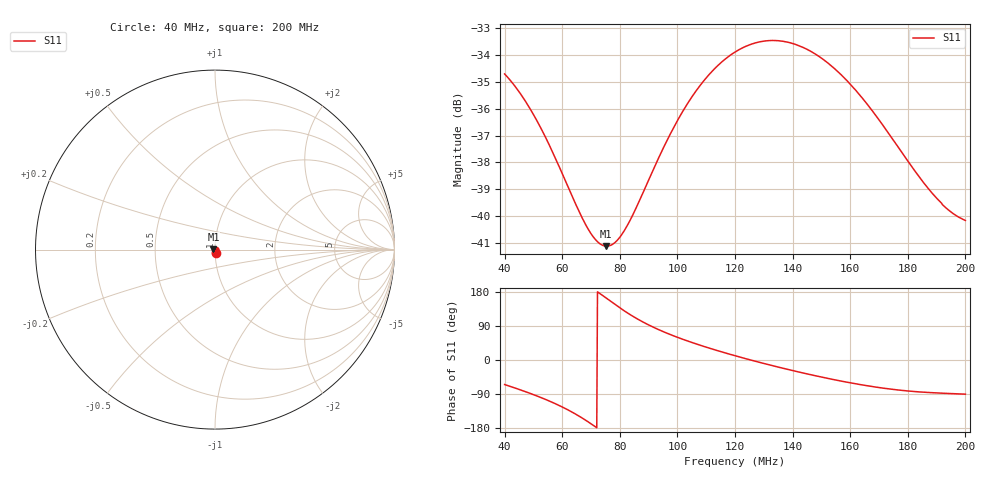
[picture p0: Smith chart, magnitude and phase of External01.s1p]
# Hz S RI R 50
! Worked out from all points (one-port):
!   641 points, 40 MHz to 200 MHz, reference 50 ohm
!   lowest |S11| = -41.1 dB at 75.25 MHz (marker M1), VSWR 1.02, Z = 49.2 + j0.247 ohm
!   |S11| at or under -10 dB: start of sweep to end of sweep
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4e7  0.00784 -0.0167
4.425e7  0.0043 -0.0167
4.95e7  3.14e-05 -0.0156
5.45e7  -0.00359 -0.0135
6e7  -0.0067 -0.00996
6.575e7  -0.00864 -0.00548
6.925e7  -0.00907 -0.00253
7.25e7  -0.00893 0.000234
7.525e7  -0.00842 0.00251
7.75e7  -0.00775 0.0043
8e7  -0.00675 0.00616
8.425e7  -0.00448 0.00893
9.45e7  0.00303 0.0128
1e8  0.00756 0.013
1.0475e8  0.0113 0.0121
1.0975e8  0.0149 0.0102
1.1475e8  0.0177 0.00746
1.2e8  0.0198 0.00396
1.2975e8  0.0209 -0.00318
1.3475e8  0.0202 -0.00664
1.4e8  0.0185 -0.00981
1.5e8  0.0139 -0.0139
1.6e8  0.00876 -0.0153
1.6825e8  0.00513 -0.0147
1.8e8  0.00182 -0.0125
1.865e8  0.000901 -0.0113
1.9275e8  0.00038 -0.0104
2e8  -2.67e-05 -0.00982
